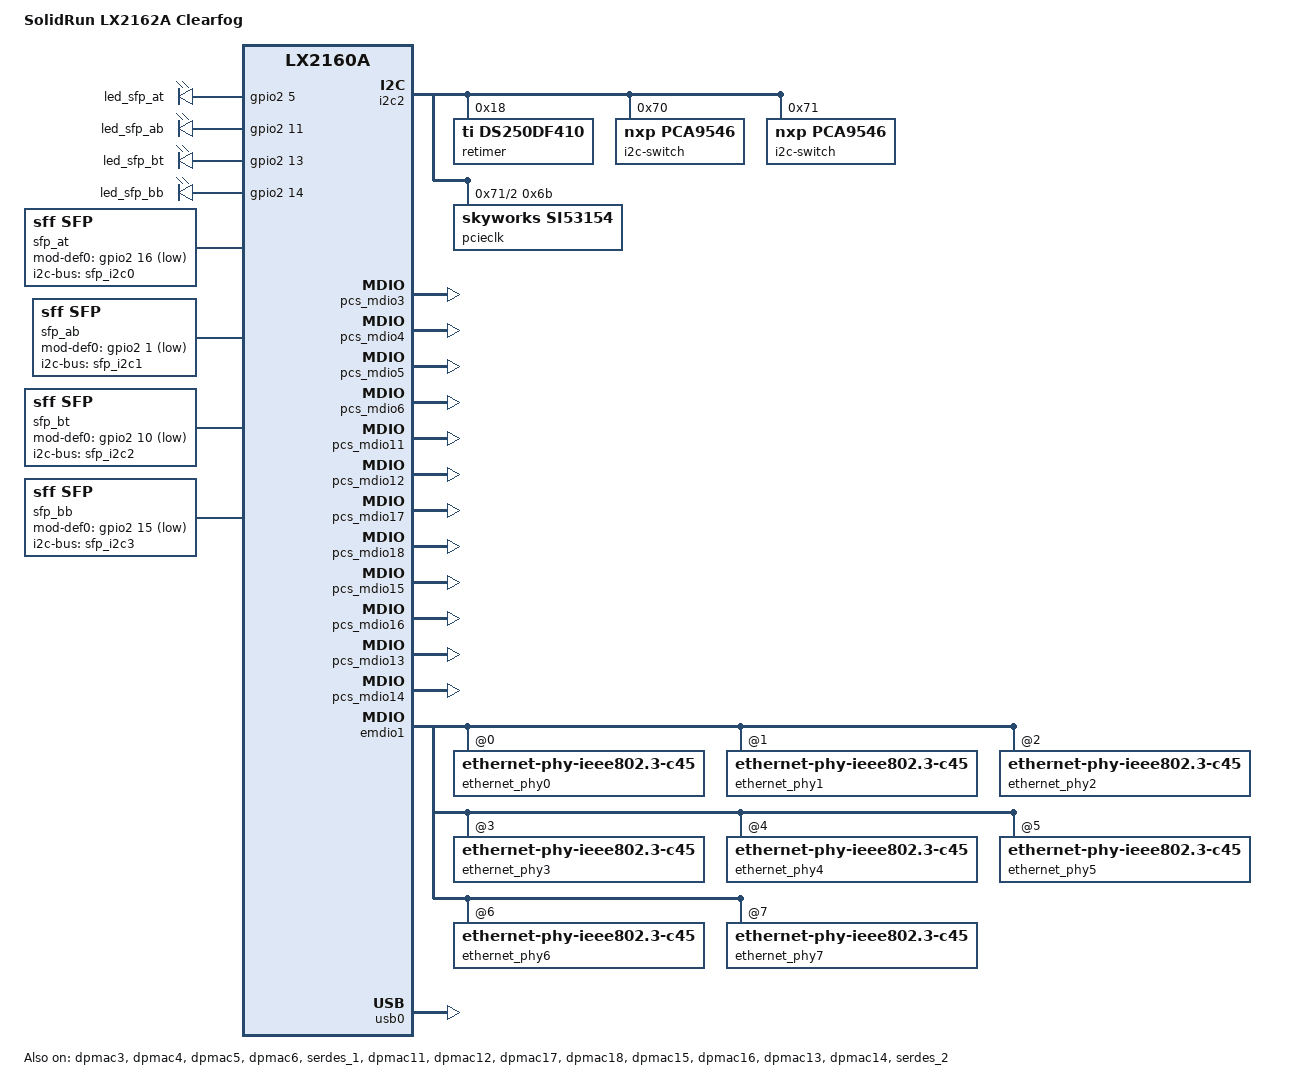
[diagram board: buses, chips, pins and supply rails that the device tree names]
// SPDX-License-Identifier: (GPL-2.0 OR MIT)
//
// Device Tree file for LX2162A Clearfog
//
// Copyright 2022 Josua Mayer <josua@solid-run.com>

/dts-v1/;

#include "fsl-lx2162a-som.dtsi"

/* work-around for phy address 1 conflict on mdio bus */
#define OCTOPHY_ADDR_OFFSET_LOWER 0x08
#define OCTOPHY_ADDR_OFFSET_UPPER 0x08
#define OCTOPHY_ADDR_LOWER(index) (OCTOPHY_ADDR_OFFSET_LOWER + index)
#define OCTOPHY_ADDR_UPPER(index) (OCTOPHY_ADDR_OFFSET_UPPER + index)

/ {
	model = "SolidRun LX2162A Clearfog";
	compatible = "solidrun,clearfog", "fsl,lx2160a";
	aliases {
        crypto = &crypto;
		serial0 = &uart0;
	};
	chosen {
		stdout-path = "serial0:115200n8";
	};

	leds {
		compatible = "gpio-leds";
		led_sfp_at: led-sfp-at {
			gpios = <&gpio2 5 GPIO_ACTIVE_HIGH>; /* PROC_IRQ5 */
			default-state = "off";
		};
		led_sfp_ab: led-sfp-ab {
			gpios = <&gpio2 11 GPIO_ACTIVE_HIGH>; /* PROC_IRQ11 */
			default-state = "off";
		};
		led_sfp_bt: led-sfp-bt {
			gpios = <&gpio2 13 GPIO_ACTIVE_HIGH>; /* EVT1_B */
			default-state = "off";
		};
		led_sfp_bb: led-sfp-bb {
			gpios = <&gpio2 14 GPIO_ACTIVE_HIGH>; /* EVT2_B */
			default-state = "off";
		};
	};

	sfp_at: sfp-at {
		compatible = "sff,sfp";
		i2c-bus = <&sfp_i2c0>;
		mod-def0-gpio = <&gpio2 16 GPIO_ACTIVE_LOW>; /* EVT4_B */
		maximum-power-milliwatt = <2000>;
	};

	sfp_ab: sfp-ab {
		compatible = "sff,sfp";
		i2c-bus = <&sfp_i2c1>;
		mod-def0-gpio = <&gpio2 1 GPIO_ACTIVE_LOW>; /* PROC_IRQ1 */
		maximum-power-milliwatt = <2000>;
	};

	sfp_bt: sfp-bt {
		compatible = "sff,sfp";
		i2c-bus = <&sfp_i2c2>;
		mod-def0-gpio = <&gpio2 10 GPIO_ACTIVE_LOW>; /* PROC_IRQ10 */
		maximum-power-milliwatt = <2000>;
	};

	sfp_bb: sfp-bb {
		compatible = "sff,sfp";
		i2c-bus = <&sfp_i2c3>;
		mod-def0-gpio = <&gpio2 15 GPIO_ACTIVE_LOW>; /* EVT3_B */
		maximum-power-milliwatt = <2000>;
	};
};

&i2c2 {
	retimer: ds250df410@18 {
		compatible = "ti,ds250df410";
		reg = <0x18>;
		#phy-cells = <1>;
	};

	i2c-switch@70 {
		compatible = "nxp,pca9546";
		#address-cells = <1>;
		#size-cells = <0>;
		reg = <0x70>;
		i2c-mux-idle-disconnect;

		/* upper 10G connector */
		sfp_i2c0: i2c@0 {
			#address-cells = <1>;
			#size-cells = <0>;
			reg = <0>;
		};

		/* lower 10G connector */
		sfp_i2c1: i2c@1 {
			#address-cells = <1>;
			#size-cells = <0>;
			reg = <1>;
		};

		/* upper 25G connector */
		sfp_i2c2: i2c@2 {
			#address-cells = <1>;
			#size-cells = <0>;
			reg = <2>;
		};

		/* lower 25G connector */
		sfp_i2c3: i2c@3 {
			#address-cells = <1>;
			#size-cells = <0>;
			reg = <3>;
		};
	};

	i2c-switch@71 {
		compatible = "nxp,pca9546";
		#address-cells = <1>;
		#size-cells = <0>;
		reg = <0x71>;
		i2c-mux-idle-disconnect;
		mpcie1_i2c: i2c@0 {
			#address-cells = <1>;
			#size-cells = <0>;
			reg = <0>;
		};
		mpcie0_i2c: i2c@1 {
			#address-cells = <1>;
			#size-cells = <0>;
			reg = <1>;
		};
		pcieclk_i2c: i2c@2 {
			#address-cells = <1>;
			#size-cells = <0>;
			reg = <2>;

			pcieclk@6b {
				compatible = "skyworks,si53154";
				reg = <0x6b>;
			};
		};
	};
};

/*
 * Serdes 1 Clocks:
 * - PLLF = 161.1328125MHz
 * - PLLS = PLLF
 */

/*
 * SD1 Protocol 2: 4x 1Gbps
 * - Lane 0 (H): USXGMII / XFI WRIOP MAC3
 * - Lane 1 (G): USXGMII / XFI WRIOP MAC4
 * - Lane 2 (F): USXGMII / XFI WRIOP MAC5
 * - Lane 3 (E): USXGMII / XFI WRIOP MAC6
 * Requires either 100MHz or 125MHz reference clock
 */

/*
 * SD1 Protocol 3: 4x 10Gbps
 * - Lane 0 (H): USXGMII / XFI WRIOP MAC3
 * - Lane 1 (G): USXGMII / XFI WRIOP MAC4
 * - Lane 2 (F): USXGMII / XFI WRIOP MAC5
 * - Lane 3 (E): USXGMII / XFI WRIOP MAC6
 * Requires either 156.25MHz or 161.1328125MHz reference clock
 */

/*
 * SD1 Protocol 17: 4x 25Gbps
 * - Lane 0 (H): 25GE WRIOP MAC3
 * - Lane 1 (G): 25GE WRIOP MAC4
 * - Lane 2 (F): 25GE WRIOP MAC5
 * - Lane 3 (E): 25GE WRIOP MAC6
 * Requires 161.1328125MHz reference clock
 */

/*
 * SD1 Protocol 18: 2x 10Gbps + 2x 25Gbps
 * - Lane 0 (H): USXGMII / XFI WRIOP MAC3
 * - Lane 1 (G): USXGMII / XFI WRIOP MAC4
 * - Lane 2 (F): 25GE WRIOP MAC5
 * - Lane 3 (E): 25GE WRIOP MAC6
 * Requires 161.1328125MHz reference clock
 */

/* upper 10G connector */
&dpmac3 {
	status = "okay";
	phys = <&serdes_1 7>;
	phy-names = "serdes";
	managed = "in-band-status";
	sfp = <&sfp_at>;
	link-status-led = <&led_sfp_at>;
};

&pcs_mdio3 {
	status = "okay";
};

/* lower 10G connector */
&dpmac4 {
	status = "okay";
	phys = <&serdes_1 6>;
	phy-names = "serdes";
	managed = "in-band-status";
	sfp = <&sfp_ab>;
	link-status-led = <&led_sfp_ab>;
};

&pcs_mdio4 {
	status = "okay";
};

&dpmac5 {
	status = "okay";
	phys = <&serdes_1 5>, <&retimer 2>, <&retimer 3>;
	phy-names = "serdes", "retimer", "retimer";
	managed = "in-band-status";
	sfp = <&sfp_bt>;
	link-status-led = <&led_sfp_bt>;
};

&pcs_mdio5 {
	status = "okay";
};

&dpmac6 {
	status = "okay";
	phys = <&serdes_1 4>, <&retimer 0>, <&retimer 1>;
	phy-names = "serdes", "retimer", "retimer";
	managed = "in-band-status";
	sfp = <&sfp_bb>;
	link-status-led = <&led_sfp_bb>;
};

&pcs_mdio6 {
	status = "okay";
};

&serdes_1 {
	status = "okay";
};

/*
 * Serdes 2 Clocks:
 * - PLLF = 100MHz (Carrier CLK_SLOT1)
 * - PLLS = 156.25MHz (SoM)
 */

/*
 * SD2 Protocol 7: 4x 1Gbps + 2x PCIe Gen. 2 x1 + 2x 10Gbps
 * - Lane 0 (A): PCIe.3
 * - Lane 1 (B): SGMII WRIOP MAC12
 * - Lane 2 (C): SGMII WRIOP MAC17
 * - Lane 3 (D): SGMII WRIOP MAC18
 * - Lane 4 (E): PCIe.4
 * - Lane 5 (F): SGMII WRIOP MAC16
 * - Lane 6 (G): USXGMII / XFI WRIOP MAC13
 * - Lane 7 (H): USXGMII / XFI WRIOP MAC14
 * Requires 100MHz and 156.25MHz reference clocks
 */

/*
 * SD2 Protocol 9: 8x 1Gbps
 * - Lane 0 (A): SGMII WRIOP MAC11
 * - Lane 1 (B): SGMII WRIOP MAC12
 * - Lane 2 (C): SGMII WRIOP MAC17
 * - Lane 3 (D): SGMII WRIOP MAC18
 * - Lane 4 (E): SGMII WRIOP MAC15
 * - Lane 5 (F): SGMII WRIOP MAC16
 * - Lane 6 (G): SGMII WRIOP MAC13
 * - Lane 7 (H): SGMII WRIOP MAC14
 * Requires 100MHz reference clock
 */

/*
 * SD2 Protocol 11: 6x 1Gbps + 2x PCIe Gen. 3 x1
 * - Lane 0 (A): PCIe.3
 * - Lane 1 (B): SGMII WRIOP MAC12
 * - Lane 2 (C): SGMII WRIOP MAC17
 * - Lane 3 (D): SGMII WRIOP MAC18
 * - Lane 4 (E): PCIe.4
 * - Lane 5 (F): SGMII WRIOP MAC16
 * - Lane 6 (G): SGMII WRIOP MAC13
 * - Lane 7 (H): SGMII WRIOP MAC14
 * Requires 100MHz reference clock
 */

&dpmac11 {
	status = "okay";
	phys = <&serdes_2 0>;
	phy-handle = <&ethernet_phy2>;
	phy-mode = "rgmii";
};

&pcs_mdio11 {
	status = "okay";
};

&dpmac12 {
	status = "okay";
	phys = <&serdes_2 1>;
	phy-names = "serdes";
	phy-handle = <&ethernet_phy0>;
	phy-mode = "rgmii";
};

&pcs_mdio12 {
	status = "okay";
};

&dpmac17 {
	/* override connection to on-SoM phy */
	/delete-property/ phy-handle;
	/delete-property/ phy-connection-type;

	status = "okay";
	phys = <&serdes_2 2>;
	phy-names = "serdes";
	phy-handle = <&ethernet_phy4>;
	phy-mode = "rgmii";
};

&pcs_mdio17 {
	status = "okay";
};

&dpmac18 {
	status = "okay";
	phys = <&serdes_2 3>;
	phy-names = "serdes";
	phy-handle = <&ethernet_phy6>;
	phy-mode = "rgmii";
};

&pcs_mdio18 {
	status = "okay";
};

&dpmac15 {
	status = "okay";
	phys = <&serdes_2 4>;
	phy-names = "serdes";
	phy-handle = <&ethernet_phy3>;
	phy-mode = "rgmii";
};

&pcs_mdio15 {
	status = "okay";
};

&dpmac16 {
	status = "okay";
	phys = <&serdes_2 5>;
	phy-names = "serdes";
	phy-handle = <&ethernet_phy1>;
	phy-mode = "rgmii";
};

&pcs_mdio16 {
	status = "okay";
};

&dpmac13 {
	status = "okay";
	phys = <&serdes_2 6>;
	phy-names = "serdes";
	phy-handle = <&ethernet_phy5>;
	phy-mode = "rgmii";
};

&pcs_mdio13 {
	status = "okay";
};

&dpmac14 {
	status = "okay";
	phys = <&serdes_2 7>;
	phy-names = "serdes";
	phy-handle = <&ethernet_phy7>;
	phy-mode = "rgmii";
};

&pcs_mdio14 {
	status = "okay";
};

&emdio1 {
	status = "okay";

	/*
	 * SoM can have a phy at address 1 connected to SoC Ethernet Controller 1.
	 * It competes for WRIOP MAC17 with Serdes 2 Protocols 7,9,11 - and no connector is wired.
	 */
	/delete-node/ ethernet-phy@1;

	ethernet_phy0: mv88e3580-p0@0 {
		reg = <OCTOPHY_ADDR_LOWER(0)>;
		compatible = "ethernet-phy-ieee802.3-c45";
		max-speed = <1000>;
	};

	ethernet_phy1: mv88e3580-p1@1 {
		reg = <OCTOPHY_ADDR_LOWER(1)>;
		compatible = "ethernet-phy-ieee802.3-c45";
		max-speed = <1000>;
	};

	ethernet_phy2: mv88e3580-p2@2 {
		reg = <OCTOPHY_ADDR_LOWER(2)>;
		compatible = "ethernet-phy-ieee802.3-c45";
		max-speed = <1000>;
	};

	ethernet_phy3: mv88e3580-p3@3 {
		reg = <OCTOPHY_ADDR_LOWER(3)>;
		compatible = "ethernet-phy-ieee802.3-c45";
		max-speed = <1000>;
	};

	ethernet_phy4: mv88e3580-p4@4 {
		reg = <OCTOPHY_ADDR_UPPER(4)>;
		compatible = "ethernet-phy-ieee802.3-c45";
		max-speed = <1000>;
	};

	ethernet_phy5: mv88e3580-p5@5 {
		reg = <OCTOPHY_ADDR_UPPER(5)>;
		compatible = "ethernet-phy-ieee802.3-c45";
		max-speed = <2500>;
	};

	ethernet_phy6: mv88e3580-p6@6 {
		reg = <OCTOPHY_ADDR_UPPER(6)>;
		compatible = "ethernet-phy-ieee802.3-c45";
		max-speed = <1000>;
	};

	ethernet_phy7: mv88e3580-p7@7 {
		reg = <OCTOPHY_ADDR_UPPER(7)>;
		compatible = "ethernet-phy-ieee802.3-c45";
		max-speed = <2500>;
	};
};

/* CON7 */
&pcie4 {
	status = "disabled";
};

/* CON8 */
&pcie3 {
	status = "disabled";
};

&serdes_2 {
	status = "okay";
};

&sata0 {
	status = "disabled";
};

&sata1 {
	status = "disabled";
};

&sata2 {
	status = "disabled";
};

&sata3 {
	status = "disabled";
};

&usb0 {
	status = "okay";
};
